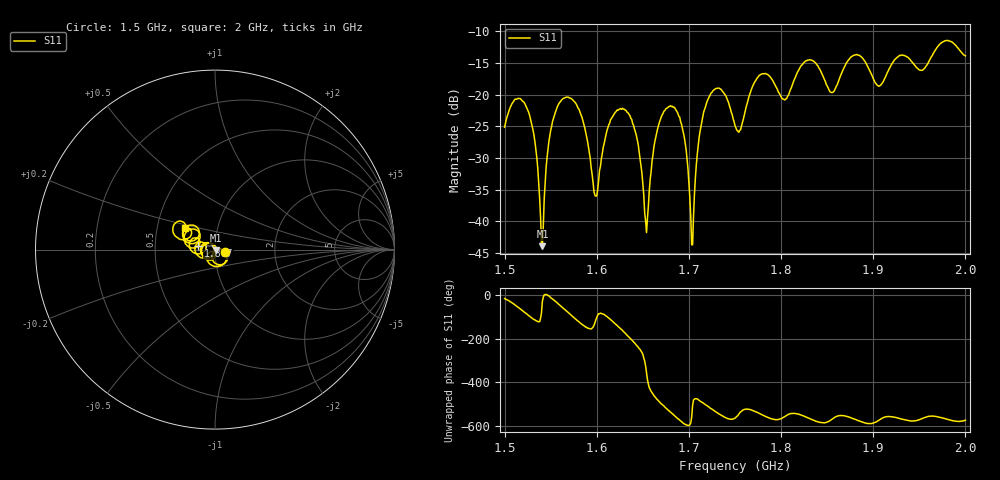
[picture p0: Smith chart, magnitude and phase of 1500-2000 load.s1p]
! NanoVNA-App by SYSJOINT et al v1.1.209 (+OD18)
! Date: 2025-09-17 10:25:24
! Start: 1.5GHz Stop: 2GHz Points: 501
! S-Parameter data: F S11
# Hz S RI R 50
!  Frequency  S11_Real  S11_Imag
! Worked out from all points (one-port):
!   501 points, 1.5 GHz to 2 GHz, reference 50 ohm
!   lowest |S11| = -43.9 dB at 1.541 GHz (marker M1), VSWR 1.01, Z = 50.6 - j0.293 ohm
!   |S11| at or under -10 dB: start of sweep to end of sweep
!   S11 on the Smith chart (normalised r, x): 1.5 GHz: 1.11, -0.03; 1.807 GHz: 0.83, +0.03; 2 GHz: 0.70, +0.17
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1.5e9  0.0536 -0.014
1.525e9  0.00135 -0.0761
1.533e9  -0.0164 -0.0387
1.541e9  0.00569 -0.0029
1.549e9  0.0467 -0.0047
1.563e9  0.051 -0.0771
1.583e9  -0.0451 -0.0523
1.599e9  -0.0061 -0.0146
1.611e9  -0.00636 -0.0515
1.625e9  -0.0669 -0.0385
1.642e9  -0.0364 0.0353
1.654e9  0.00817 0.000257
1.668e9  -0.0394 -0.0459
1.688e9  -0.0626 0.0341
1.697e9  -0.0206 0.0303
1.703e9  -0.00608 0.00243
1.711e9  -0.0255 -0.0377
1.721e9  -0.0829 -0.0423
1.75e9  -0.0512 0.0251
1.778e9  -0.143 0.0196
1.807e9  -0.095 0.019
1.813e9  -0.1239 0.00889
1.833e9  -0.1591 0.0988
1.856e9  -0.0915 0.0502
1.875e9  -0.1793 0.0765
1.906e9  -0.094 0.0686
1.938e9  -0.156 0.1186
2e9  -0.1647 0.1177
